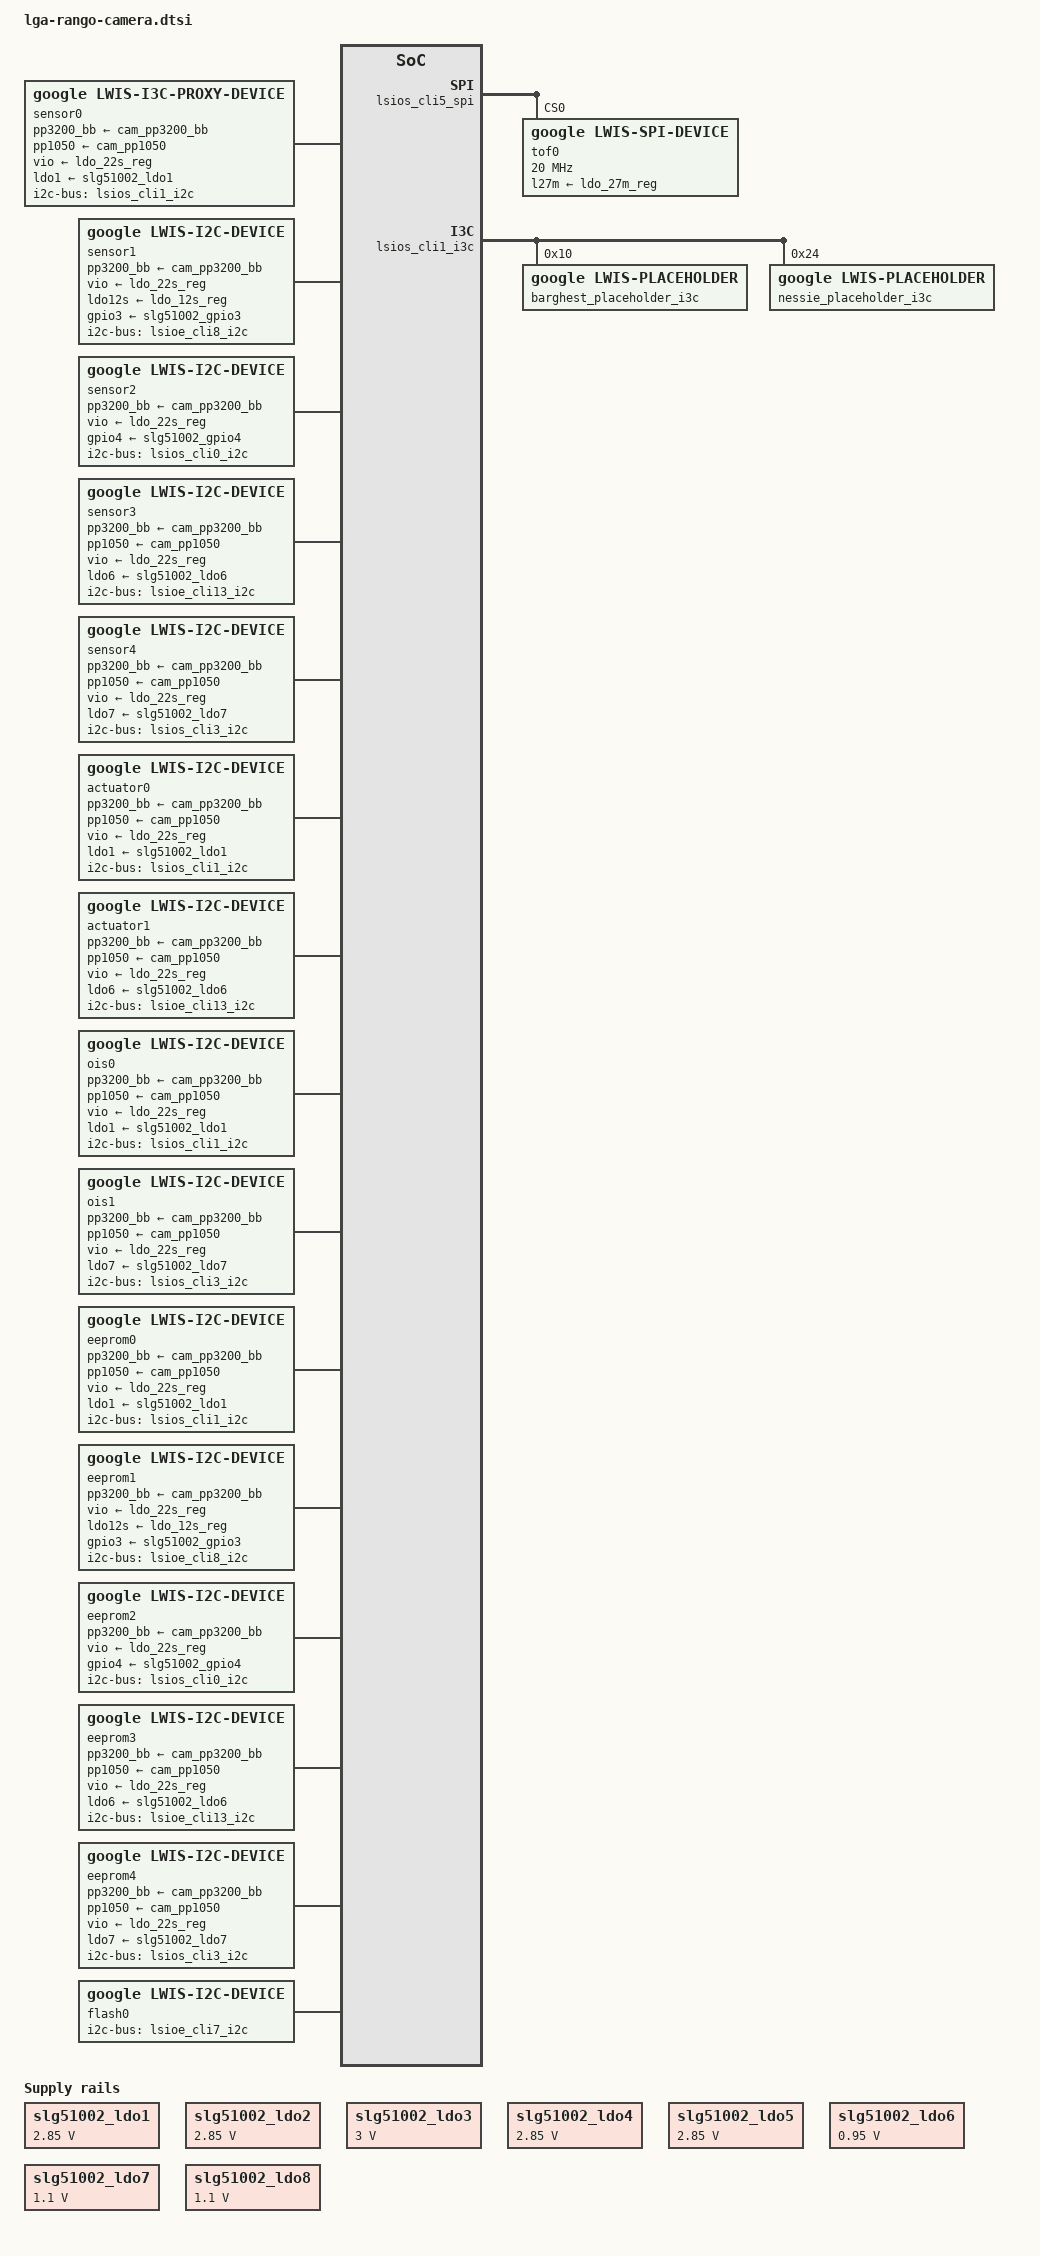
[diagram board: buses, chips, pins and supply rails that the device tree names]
// SPDX-License-Identifier: GPL-2.0-only
/*
 * camera lwis device tree for rango
 *
 * Copyright 2024 Google LLC.
 *
 */

#include <dt-bindings/gpio/gpio.h>
#include <dt-bindings/interrupt-controller/irq.h>
#include <dt-bindings/lwis/platform/laguna/tof.h>

&slg51002_ldo1 {
	regulator-min-microvolt = <2850000>;
	regulator-max-microvolt = <2850000>;
};

&slg51002_ldo2 {
	regulator-min-microvolt = <2850000>;
	regulator-max-microvolt = <2850000>;
};

&slg51002_ldo3 {
	regulator-min-microvolt = <3000000>;
	regulator-max-microvolt = <3000000>;
};

&slg51002_ldo4 {
	regulator-min-microvolt = <2850000>;
	regulator-max-microvolt = <2850000>;
};

&slg51002_ldo5 {
	regulator-min-microvolt = <2850000>;
	regulator-max-microvolt = <2850000>;
};

&slg51002_ldo6 {
	regulator-min-microvolt = <950000>;
	regulator-max-microvolt = <950000>;
};

&slg51002_ldo7 {
	regulator-min-microvolt = <1100000>;
	regulator-max-microvolt = <1100000>;
};

&slg51002_ldo8 {
	regulator-min-microvolt = <1100000>;
	regulator-max-microvolt = <1100000>;
};

/* REAR ULTRA WIDE IMENTET */
&sensor_mclk1_out {
	drive-strength = <2>;
};
&sensor_mclk1_fn {
	drive-strength = <2>;
};
/* REAR CAMERA BARGHEST */
&sensor_mclk2_out {
	drive-strength = <2>;
};
&sensor_mclk2_fn {
	drive-strength = <2>;
};
/* INNER FRONT CAMERA SVAROG */
&sensor_mclk3_out {
	drive-strength = <3>;
};
&sensor_mclk3_fn {
	drive-strength = <3>;
};
/* OUTER FRONT SVAROG */
&sensor_mclk5_out {
	drive-strength = <2>;
};
&sensor_mclk5_fn {
	drive-strength = <2>;
};
/* REAR TELE DOKKAEBI */
&sensor_mclk6_out {
	drive-strength = <2>;
};
&sensor_mclk6_fn {
	drive-strength = <2>;
};

&lsios_cli5_spi {
	google,spi-gpio-cs-with-cpol-high;

	tof0: tof@0 {
		status = "okay";
		compatible = "google,lwis-spi-device";

		/* SPI_CONFIG */
		reg = <0>;
		spi-max-frequency = <20000000>;
		spi-cpol;
		spi-cpha;

		/* Device node name */
		node-name = "tof-tarasque";

		/* Registers */
		reg-addr-bitwidth = <16>;
		reg-value-bitwidth = <8>;

		/* MCLK Control */
		/* LWIS DT parser explicitly requires mclk_on pinctrl */
		pinctrl-names = "default", "mclk_on", "mclk_off";
		pinctrl-0 = <&ldaf2aoc_irq_od_l_1v2>;
		pinctrl-1 = <&ldaf2aoc_irq_od_l_1v2>;
		pinctrl-2 = <>;

		irq-gpios = <LDAF2AOC_IRQ_OD_L_1V2(GPIO_ACTIVE_LOW)>;
		irq-gpios-names = "tof-irq";
		irq-gpios-events = <LWIS_PLATFORM_EVENT_ID_TOF_DATA_POLLING>;
		irq-gpios-types = <IRQ_TYPE_EDGE_FALLING>;

		/* Power supplies */
		/* VADD 3.3V */
		l27m-supply = <&ldo_27m_reg>;

		/* Power up sequence */
		power-up-seqs =
			"l27m",
			"mclk_on";
		power-up-seq-types =
			"regulator",
			"pinctrl";
		power-up-seq-delays-us =
			<0
			 0>;

		/* Power down sequence */
		power-down-seqs =
			"mclk_off",
			"l27m";
		power-down-seq-types =
			"pinctrl",
			"regulator";
		power-down-seq-delays-us =
			<0
			 0>;

		/* Thread priority */
		/* This is made to be lower than image sensor's thread */
		/* thread priority to allow uninterrupted image sensor */
		/* operation during periods of high CPU contention. */
		transaction-thread-priority = <100>;
	};
};

&lsios_cli1_i3c {
	/* Lwis placeholder for RCAM */
	barghest_placeholder_i3c: barghest_placeholder_i3c@0 {
		compatible = "google,lwis-placeholder";
		/* I2C */
		reg = <0x10 0x0 0x20>;
	};
	nessie_placeholder_i3c: nessie_placeholder_i3c@0 {
		compatible = "google,lwis-placeholder";
		/* I2C */
		reg = <0x24 0x0 0x20>;
	};
};

/* INNER FRONT CAMERA SVAROG */
&lsioe_cli8_i2c {
	i2c-sda-falling-time-ns = <125>;
	i2c-scl-falling-time-ns = <150>;
};
/* REAR ULTRA WIDE IMENTET */
&lsioe_cli13_i2c {
	i2c-sda-falling-time-ns = <125>;
	i2c-scl-falling-time-ns = <150>;
};

/ {
	fragment@lwiscamera {
		target-path = "/";
		__overlay__ {
			/* Power supplies will be defined on each module. */
			outer_front_camera_power_seq: module_power_seq@0 {
				/* Common supplies */
				/* PP3200_BB_CAM pp3200_bb */
				/* Sensor */
				/* VDDIO: ldo_22s_reg */
				/* VDIG & VDDA ENABLE: slg51002_gpio4 */
				/* RESET: OUTER_FCAM_RST_L XLSIOS_CLI0_PIN3 */

				power-up-seqs =
					"pp3200_bb",
					"vio",
					"gpio4",
					"reset",
					"mclk_on",
					"vsync_on",
					"resume";
				power-up-seq-types =
					"regulator",
					"regulator",
					"regulator",
					"gpio",
					"pinctrl",
					"pinctrl",
					"controller";
				power-up-seq-delays-us =
					<0
					 1000
					 1000
					 1000
					 1000
					 0
					 0>;

				power-down-seqs =
					"suspend",
					"vsync_off",
					"mclk_off",
					"reset",
					"gpio4",
					"vio",
					"pp3200_bb";
				power-down-seq-types =
					"controller",
					"pinctrl",
					"pinctrl",
					"gpio",
					"regulator",
					"regulator",
					"regulator";
				power-down-seq-delays-us =
					<0
					 0
					 1000
					 1000
					 1000
					 0
					 2000>;
			};

			inner_front_camera_power_seq: module_power_seq@1 {
				/* Common supplies */
				/* PP3200_BB_CAM pp3200_bb */
				/* Sensor */
				/* Sensor IOVDD: ldo_22s_reg */
				/* Sensor DVDD: ldo_12s_reg */
				/* Sensor AVDD: slg51002_gpio3 */
				/* RESET: AP2FCAM_RST_L -> XLSIOE_CLI8_PIN2 */

				power-up-seqs =
					"pp3200_bb",
					"vio",
					"gpio3",
					"ldo12s",
					"reset",
					"mclk_on",
					"vsync_on",
					"resume";
				power-up-seq-types =
					"regulator",
					"regulator",
					"regulator",
					"regulator",
					"gpio",
					"pinctrl",
					"pinctrl",
					"controller";
				power-up-seq-delays-us =
					<1000
					 0
					 2000
					 0
					 1000
					 1000
					 0
					 0>;

				power-down-seqs =
					"suspend",
					"vsync_off",
					"mclk_off",
					"reset",
					"ldo12s",
					"gpio3",
					"vio",
					"pp3200_bb";
				power-down-seq-types =
					"controller",
					"pinctrl",
					"pinctrl",
					"gpio",
					"regulator",
					"regulator",
					"regulator",
					"regulator";
				power-down-seq-delays-us =
					<0
					 0
					 1000
					 1000
					 1000
					 1000
					 1000
					 2000>;
			};

			/* Power sequence for REAR MAIN CAMERA combo */
			rear_main_camera_power_seq: module_power_seq@2 {
				/* Common supplies */
				/* PP3200_BB_CAM pp3200_bb */
				/* PP1050_CAM    pp1050 */
				/* Sensor */
				/* PMIC RCAM VANA ENABLE: PMICS2CAM_MVBUCK_EN */
				/* Sensor IOVDD: ldo_22s_reg */
				/* AF/OIS Driver IC: slg51002_ldo1 */
				/* AF_VCM: slg51002_ldo2 */
				/* Sensor AVDD: slg51002_gpio1 */
				/* Sensor DVDD: slg51002_ldo8 */

				power-up-seqs =
					"pp3200_bb",
					"pp1050",
					"shared-vana_enable",
					"vio",
					"ldo1",
					"ldo2",
					"gpio1",
					"ldo8",
					"mclk_on",
					"vsync_on",
					"resume";
				power-up-seq-types =
					"regulator",
					"regulator",
					"gpio",
					"regulator",
					"regulator",
					"regulator",
					"regulator",
					"regulator",
					"pinctrl",
					"pinctrl",
					"controller";
				power-up-seq-delays-us =
					<0
					 0
					 0
					 1000
					 1000
					 1000
					 1000
					 1000
					 1000
					 0
					 0>;

				power-down-seqs =
					"suspend",
					"vsync_off",
					"mclk_off",
					"ldo8",
					"gpio1",
					"ldo2",
					"ldo1",
					"vio",
					"shared-vana_enable",
					"pp1050",
					"pp3200_bb";
				power-down-seq-types =
					"controller",
					"pinctrl",
					"pinctrl",
					"regulator",
					"regulator",
					"regulator",
					"regulator",
					"regulator",
					"gpio",
					"regulator",
					"regulator";
				power-down-seq-delays-us =
					<0
					 0
					 1000
					 1000
					 1000
					 1000
					 1000
					 0
					 1000
					 2000
					 2000>;
			};

			rear_uw_camera_power_seq: module_power_seq@3 {
				/* Common supplies */
				/* PP3200_BB_CAM     pp3200_bb */
				/* PP1050_CAM        pp1050 */
				/* Sensor */
				/* PMIC RCAM VANA ENABLE: PMICS2CAM_MVBUCK_EN */
				/* VDDIO: ldo_22s_reg */
				/* VDIG: slg51002_ldo6 */
				/* VDDA: slg51002_gpio2 */
				/* AF_VM: slg51002_ldo5 */

				power-up-seqs =
					"pp3200_bb",
					"pp1050",
					"shared-vana_enable",
					"vio",
					"ldo5",
					"gpio2",
					"ldo6",
					"mclk_on",
					"vsync_on",
					"resume";
				power-up-seq-types =
					"regulator",
					"regulator",
					"gpio",
					"regulator",
					"regulator",
					"regulator",
					"regulator",
					"pinctrl",
					"pinctrl",
					"controller";
				power-up-seq-delays-us =
					<0
					 0
					 0
					 0
					 1000
					 1000
					 1000
					 10000
					 0
					 0>;

				power-down-seqs =
					"suspend",
					"vsync_off",
					"mclk_off",
					"ldo6",
					"gpio2",
					"ldo5",
					"vio",
					"shared-vana_enable",
					"pp1050",
					"pp3200_bb";
				power-down-seq-types =
					"controller",
					"pinctrl",
					"pinctrl",
					"regulator",
					"regulator",
					"regulator",
					"regulator",
					"gpio",
					"regulator",
					"regulator";
				power-down-seq-delays-us =
					<0
					 0
					 1000
					 1000
					 1000
					 0
					 0
					 1000
					 2000
					 2000>;
			};

			rear_tele_camera_power_seq: module_power_seq@4 {
				/* Common supplies */
				/* PP3200_BB_CAM     pp3200_bb */
				/* PP1050_CAM        pp1050 */
				/* Sensor */
				/* VDDIO: ldo_22s_reg */
				/* VDIG: slg51002_ldo7*/
				/* VDDA: slg51002_ldo3 */
				/* AF_OIS_AVDD: slg51002_ldo1 */
				/* AF_OIS_VM: slg51002_ldo4 */
				/* AF_OIS_RESRT: AP2RTCAM_AF_OIS_RST XLSIOS_PWM_2 */

				power-up-seqs =
					"pp3200_bb",
					"pp1050",
					"vio",
					"ldo1",
					"ldo4",
					"shared-reset",
					"ldo3",
					"ldo7",
					"mclk_on",
					"vsync_on",
					"resume";
				power-up-seq-types =
					"regulator",
					"regulator",
					"regulator",
					"regulator",
					"regulator",
					"gpio",
					"regulator",
					"regulator",
					"pinctrl",
					"pinctrl",
					"controller";
				power-up-seq-delays-us =
					<0
					 0
					 1000
					 1000
					 1000
					 1000
					 1000
					 1000
					 10000
					 0
					 0>;

				power-down-seqs =
					"suspend",
					"vsync_off",
					"mclk_off",
					"ldo7",
					"ldo3",
					"shared-reset",
					"ldo4",
					"ldo1",
					"vio",
					"pp1050",
					"pp3200_bb";
				power-down-seq-types =
					"controller",
					"pinctrl",
					"pinctrl",
					"regulator",
					"regulator",
					"gpio",
					"regulator",
					"regulator",
					"regulator",
					"regulator",
					"regulator";
				power-down-seq-delays-us =
					<0
					 0
					 1000
					 1000
					 1000
					 1000
					 1000
					 1000
					 1000
					 2000
					 2000>;
			};

			/* REAR CAMERA BARGHEST CSIB */
			sensor0: sensor@0 {
				compatible = "google,lwis-i3c-proxy-device";

				/* Device node name */
				node-name = "sensor-barghest";

				/* I2C */
				i2c-bus = <&lsios_cli1_i2c &lsios_cli1_i3c>;
				i2c-addr = <0x10>;
				/* I3C */
				i3c-enabled;
				i3c-dcr = <130>;

				/* Registers */
				reg-addr-bitwidth = <16>;
				reg-value-bitwidth = <16>;

				/* I2C OTP settings (reg, val) */
				i2c-otp-settings =
					<0xFCFC 0x4000
					 0x6010 0x0001>;
				i2c-otp-settle-time = <10000>;

				/* I3C OTP settings (reg, val) */
				i3c-otp-settings =
					<0xFCFC 0x4000
					 0x6012 0x0001
					 0x7002 0x1008
					 0x6066 0x0216
					 0x6068 0x08E8
					 0x6014 0x0001>;
				i3c-otp-settle-time = <10000>;
				/* I3C IBI */
				ibi-max-payload-len = <3>;
				ibi-num-slots = <8>;

				/* GPIOs */
				/* PMIC RCAM VANA ENABLE */
				shared-vana_enable-gpios =
					<PMICS2CAM_MVBUCK_EN(GPIO_ACTIVE_HIGH)>;
				/* AP2RCAM_RST_L -> XLSIOS_CLI1_PIN2 */
				reset-gpios =
					<AP2RCAM_RST_L(GPIO_ACTIVE_HIGH)>;

				/* Power supplies */
				pp3200_bb-supply = <&cam_pp3200_bb>;
				pp1050-supply = <&cam_pp1050>;
				vio-supply = <&ldo_22s_reg>; /* Sensor IOVDD */
				ldo1-supply = <&slg51002_ldo1>; /* AF/OIS Driver IC */
				ldo2-supply = <&slg51002_ldo2>; /* VCM */
				gpio1-supply = <&slg51002_gpio1>; /* Sensor AVDD */
				ldo8-supply = <&slg51002_ldo8>; /* Sensor DVDD */

				clocks = <&lsios_mclk2_clk>;
				clock-names = "MCLK2";
				clock-rates = <24576000>;

				/* MCLK Control */
				pinctrl-names = "mclk_on", "mclk_off", "vsync_on", "vsync_off";
				pinctrl-0 = <&sensor_mclk2_fn>;
				pinctrl-1 = <&sensor_mclk2_out>;
				pinctrl-2 = <&rcam2ap_vsync>;
				pinctrl-3 = <&rcam2ap_vsync_sleep>;

				/* Power sequence */
				power-seq = <&rear_main_camera_power_seq>;

				/* resume sequence */
				resume-seqs = "reset";
				resume-seq-types = "gpio";
				resume-seq-delays-us = <10500>;

				/* suspend sequence */
				suspend-seqs = "reset";
				suspend-seq-types = "gpio";
				suspend-seq-delays-us = <1000>;

				/* Power up mode */
				lwis,power-up-to-suspend;

				/* Thread priority */
				transaction-thread-priority = <99>;

				i2c-lock-group-id = <0>;
			};

			/* INNER FRONT CAMERA SVAROG CSIC */
			sensor1: sensor@1 {
				compatible = "google,lwis-i2c-device";

				/* Device node name */
				node-name = "sensor-svarog";

				/* I2C */
				i2c-bus = <&lsioe_cli8_i2c>;
				i2c-addr = <0x10>;

				/* Registers */
				reg-addr-bitwidth = <16>;
				reg-value-bitwidth = <16>;

				/* I2C setting in kernel */
				lwis,i2c-otp;
				/* I2C OTP settings (reg, val) */
				i2c-otp-settings =
					<0xFCFC 0x4000
					 0x6000 0x0005
					 0x6010 0x0001>;
				i2c-otp-settle-time = <5000>;

				/* GPIOs */
				/* AP2FCAM_RST_L -> XLSIOE_CLI8_PIN2 */
				reset-gpios =
					<AP2FCAM_RST_L(GPIO_ACTIVE_HIGH)>;

				/* Power supplies */
				pp3200_bb-supply = <&cam_pp3200_bb>;
				vio-supply = <&ldo_22s_reg>; /* Sensor IOVDD */
				ldo12s-supply = <&ldo_12s_reg>; /* Sensor DVDD */
				gpio3-supply = <&slg51002_gpio3>; /* Sensor AVDD */

				clocks = <&lsios_mclk3_clk>;
				clock-names = "MCLK3";
				clock-rates = <24576000>;

				/* MCLK Control */
				pinctrl-names = "mclk_on", "mclk_off", "vsync_on", "vsync_off";
				pinctrl-0 = <&sensor_mclk3_fn>;
				pinctrl-1 = <&sensor_mclk3_out>;
				pinctrl-2 = <&inner_fcam2ap_vsync>;
				pinctrl-3 = <&inner_fcam2ap_vsync_sleep>;

				/* Power sequence */
				power-seq = <&inner_front_camera_power_seq>;

				/* Thread priority */
				transaction-thread-priority = <99>;

				i2c-lock-group-id = <1>;
			};

			/* OUTER FRONT SVAROG CSIF */
			sensor2: sensor@2 {
				compatible = "google,lwis-i2c-device";

				/* Device node name */
				node-name = "sensor-svarog-outer";

				/* I2C */
				i2c-bus = <&lsios_cli0_i2c>;
				i2c-addr = <0x10>;

				/* Registers */
				reg-addr-bitwidth = <16>;
				reg-value-bitwidth = <16>;

				/* I2C setting in kernel */
				lwis,i2c-otp;
				/* I2C OTP settings (reg, val) */
				i2c-otp-settings =
					<0xFCFC 0x4000
					 0x6000 0x0005
					 0x6010 0x0001>;
				i2c-otp-settle-time = <5000>;

				/* GPIOs */
				/* OUTER_FCAM_RST_L -> XLSIOS_CLI0_PIN3 */
				reset-gpios = <OUTER_FCAM_RST_L(GPIO_ACTIVE_HIGH)>;

				/* Power supplies */
				pp3200_bb-supply = <&cam_pp3200_bb>;
				vio-supply = <&ldo_22s_reg>;
				gpio4-supply = <&slg51002_gpio4>;

				clocks = <&lsios_mclk5_clk>;
				clock-names = "MCLK5";
				clock-rates = <24576000>;

				/* MCLK Control */
				pinctrl-names = "mclk_on", "mclk_off", "vsync_on", "vsync_off";
				pinctrl-0 = <&sensor_mclk5_fn>;
				pinctrl-1 = <&sensor_mclk5_out>;
				pinctrl-2 = <&outer_fcam_vsync_1v2>;
				pinctrl-3 = <&outer_fcam_vsync_1v2_sleep>;


				/* Power sequence */
				power-seq = <&outer_front_camera_power_seq>;

				/* Thread priority */
				transaction-thread-priority = <99>;

				i2c-lock-group-id = <2>;
			};

			/* REAR ULTRA WIDE IMENTET CSIA */
			sensor3: sensor@3 {
				compatible = "google,lwis-i2c-device";

				/* Device node name */
				node-name = "sensor-imentet";

				/* I2C */
				i2c-bus = <&lsioe_cli13_i2c>;
				i2c-addr = <0x2D>;

				/* Registers */
				reg-addr-bitwidth = <16>;
				reg-value-bitwidth = <16>;

				/* GPIOs */
				shared-vana_enable-gpios =
					<PMICS2CAM_MVBUCK_EN(GPIO_ACTIVE_HIGH)>;
				/* AP2RUWCAM_RST_L -> XLSIOE_CLI13_PIN2 */
				reset-gpios = <AP2RUWCAM_RST_L(GPIO_ACTIVE_HIGH)>;

				/* Power supplies */
				pp3200_bb-supply = <&cam_pp3200_bb>;
				pp1050-supply = <&cam_pp1050>;
				vio-supply = <&ldo_22s_reg>;
				ldo6-supply = <&slg51002_ldo6>;
				gpio2-supply = <&slg51002_gpio2>;
				ldo5-supply = <&slg51002_ldo5>;

				clocks = <&lsios_mclk1_clk>;
				clock-names = "MCLK1";
				clock-rates = <24576000>;

				/* MCLK Control */
				pinctrl-names = "mclk_on", "mclk_off", "vsync_on", "vsync_off";
				pinctrl-0 = <&sensor_mclk1_fn>;
				pinctrl-1 = <&sensor_mclk1_out>;
				pinctrl-2 = <&ruwcam2ap_vsync>;
				pinctrl-3 = <&ruwcam2ap_vsync_sleep>;

				power-seq = <&rear_uw_camera_power_seq>;

				lwis,power-up-to-suspend;

				resume-seqs = "reset";
				resume-seq-types = "gpio";
				resume-seq-delays-us = <5000>;

				suspend-seqs = "reset";
				suspend-seq-types = "gpio";
				suspend-seq-delays-us = <1000>;

				/* Thread priority */
				transaction-thread-priority = <99>;

				i2c-lock-group-id = <3>;
			};

			/* REAR TELE DOKKAEBI CSIE */
			sensor4: sensor@4 {
				compatible = "google,lwis-i2c-device";

				/* Device node name */
				node-name = "sensor-dokkaebi-tele";

				/* I2C */
				i2c-bus = <&lsios_cli3_i2c>;
				i2c-addr = <0x10>;

				/* Registers */
				reg-addr-bitwidth = <16>;
				reg-value-bitwidth = <16>;

				/* GPIOs */
				/* AP2RTCAM_RST_L -> XLSIOS_CLI3_PIN2 */
				reset-gpios = <AP2RTCAM_RST_L(GPIO_ACTIVE_HIGH)>;
				/* AP2RTCAM_AF_OIS_RST -> XLSIOS_PWM_2 */
				shared-reset-gpios = <AP2RTCAM_AF_OIS_RST(GPIO_ACTIVE_HIGH)>;

				/* Power supplies */
				pp3200_bb-supply = <&cam_pp3200_bb>;
				pp1050-supply = <&cam_pp1050>;
				vio-supply = <&ldo_22s_reg>;
				ldo7-supply = <&slg51002_ldo7>;
				ldo3-supply = <&slg51002_ldo3>;
				ldo1-supply = <&slg51002_ldo1>;
				ldo4-supply = <&slg51002_ldo4>;

				clocks = <&lsios_mclk6_clk>;
				clock-names = "MCLK6";
				clock-rates = <24576000>;

				/* MCLK Control */
				pinctrl-names = "mclk_on", "mclk_off", "vsync_on", "vsync_off";
				pinctrl-0 = <&sensor_mclk6_fn>;
				pinctrl-1 = <&sensor_mclk6_out>;
				pinctrl-2 = <&rtcam2ap_vsync>;
				pinctrl-3 = <&rtcam2ap_vsync_sleep>;

				power-seq = <&rear_tele_camera_power_seq>;

				lwis,power-up-to-suspend;

				resume-seqs = "reset";
				resume-seq-types = "gpio";
				resume-seq-delays-us = <2000>;

				suspend-seqs = "reset";
				suspend-seq-types = "gpio";
				suspend-seq-delays-us = <1000>;

				/* Thread priority */
				transaction-thread-priority = <99>;

				i2c-lock-group-id = <4>;
			};

			/* Actuator NESSIE for BARGHEST */
			actuator0: actuator@0 {
				compatible = "google,lwis-i2c-device";

				/* Device node name */
				node-name = "act-nessie";

				/* I2C */
				i2c-bus = <&lsios_cli1_i2c &lsios_cli1_i3c>;
				i2c-addr = <0x24>;

				/* Registers */
				reg-addr-bitwidth = <16>;
				reg-value-bitwidth = <32>;

				/* GPIOs */
				/* PMIC RCAM VANA ENABLE */
				shared-vana_enable-gpios =
					<PMICS2CAM_MVBUCK_EN(GPIO_ACTIVE_HIGH)>;

				/* Power supplies */
				pp3200_bb-supply = <&cam_pp3200_bb>;
				pp1050-supply = <&cam_pp1050>;
				vio-supply = <&ldo_22s_reg>; /* Sensor IOVDD */
				ldo1-supply = <&slg51002_ldo1>; /* AF/OIS Driver IC */
				ldo2-supply = <&slg51002_ldo2>; /* VCM */
				gpio1-supply = <&slg51002_gpio1>; /* Sensor AVDD */
				ldo8-supply = <&slg51002_ldo8>; /* Sensor DVDD */

				/* MCLK Control */
				pinctrl-names = "mclk_on", "mclk_off", "vsync_on", "vsync_off";
				pinctrl-0 = <&sensor_mclk2_fn>;
				pinctrl-1 = <&sensor_mclk2_out>;
				pinctrl-2 = <&rcam2ap_vsync>;
				pinctrl-3 = <&rcam2ap_vsync_sleep>;

				/* Power sequence */
				power-seq = <&rear_main_camera_power_seq>;

				/* Thread priority */
				transaction-thread-priority = <99>;

				i2c-lock-group-id = <0>;
			};

			/* Actuator CORNERFOLK for IMENTET-UW */
			actuator1: actuator@1 {
				compatible = "google,lwis-i2c-device";

				/* Device node name */
				node-name = "act-cornerfolk-imentet-uw";

				/* I2C */
				i2c-bus = <&lsioe_cli13_i2c>;
				i2c-addr = <0xC>;

				/* Registers */
				reg-addr-bitwidth = <8>;
				reg-value-bitwidth = <8>;

				/* GPIOs */
				shared-vana_enable-gpios =
					<PMICS2CAM_MVBUCK_EN(GPIO_ACTIVE_HIGH)>;

				/* Power supplies */
				pp3200_bb-supply = <&cam_pp3200_bb>;
				pp1050-supply = <&cam_pp1050>;
				vio-supply = <&ldo_22s_reg>;
				ldo6-supply = <&slg51002_ldo6>;
				gpio2-supply = <&slg51002_gpio2>;
				ldo5-supply = <&slg51002_ldo5>;

				/* MCLK Control */
				pinctrl-names = "mclk_on", "mclk_off", "vsync_on", "vsync_off";
				pinctrl-0 = <&sensor_mclk1_fn>;
				pinctrl-1 = <&sensor_mclk1_out>;
				pinctrl-2 = <&ruwcam2ap_vsync>;
				pinctrl-3 = <&ruwcam2ap_vsync_sleep>;

				/* Power sequence */
				power-seq = <&rear_uw_camera_power_seq>;

				/* Thread priority */
				transaction-thread-priority = <99>;

				i2c-lock-group-id = <3>;
			};

			/* OIS NESSIE for BARGHEST */
			ois0: ois@0 {
				compatible = "google,lwis-i2c-device";

				/* Device node name */
				node-name = "ois-nessie";

				/* I2C */
				i2c-bus = <&lsios_cli1_i2c &lsios_cli1_i3c>;
				i2c-addr = <0x24>;

				/* Registers */
				reg-addr-bitwidth = <16>;
				reg-value-bitwidth = <32>;

				/* GPIOs */
				/* PMIC RCAM VANA ENABLE */
				shared-vana_enable-gpios =
					<PMICS2CAM_MVBUCK_EN(GPIO_ACTIVE_HIGH)>;

				/* Power supplies */
				pp3200_bb-supply = <&cam_pp3200_bb>;
				pp1050-supply = <&cam_pp1050>;
				vio-supply = <&ldo_22s_reg>; /* Sensor IOVDD */
				ldo1-supply = <&slg51002_ldo1>; /* AF/OIS Driver IC */
				ldo2-supply = <&slg51002_ldo2>; /* VCM */
				gpio1-supply = <&slg51002_gpio1>; /* Sensor AVDD */
				ldo8-supply = <&slg51002_ldo8>; /* Sensor DVDD */

				/* MCLK Control */
				pinctrl-names = "mclk_on", "mclk_off", "vsync_on", "vsync_off";
				pinctrl-0 = <&sensor_mclk2_fn>;
				pinctrl-1 = <&sensor_mclk2_out>;
				pinctrl-2 = <&rcam2ap_vsync>;
				pinctrl-3 = <&rcam2ap_vsync_sleep>;

				/* Power sequence */
				power-seq = <&rear_main_camera_power_seq>;

				/* Thread priority */
				transaction-thread-priority = <99>;

				i2c-lock-group-id = <0>;
			};

			/* OIS HUMBABA for DOKKAEBI-TELE */
			ois1: ois@1  {
				compatible = "google,lwis-i2c-device";

				/* Device node name */
				node-name = "ois-humbaba";

				/* I2C */
				i2c-bus = <&lsios_cli3_i2c>;
				i2c-addr = <0x61>;

				/* Registers */
				reg-addr-bitwidth = <16>;
				reg-value-bitwidth = <8>;

				/* GPIOs */
				/* AP2RTCAM_AF_OIS_RST -> XLSIOS_PWM_2 */
				shared-reset-gpios = <AP2RTCAM_AF_OIS_RST(GPIO_ACTIVE_HIGH)>;

				/* Power supplies */
				pp3200_bb-supply = <&cam_pp3200_bb>;
				pp1050-supply = <&cam_pp1050>;
				vio-supply = <&ldo_22s_reg>;
				ldo7-supply = <&slg51002_ldo7>;
				ldo3-supply = <&slg51002_ldo3>;
				ldo1-supply = <&slg51002_ldo1>;
				ldo4-supply = <&slg51002_ldo4>;

				/* MCLK Control */
				pinctrl-names = "mclk_on", "mclk_off", "vsync_on", "vsync_off";
				pinctrl-0 = <&sensor_mclk6_fn>;
				pinctrl-1 = <&sensor_mclk6_out>;
				pinctrl-2 = <&rtcam2ap_vsync>;
				pinctrl-3 = <&rtcam2ap_vsync_sleep>;

				/* Power sequence */
				power-seq = <&rear_tele_camera_power_seq>;

				/* Thread priority */
				transaction-thread-priority = <99>;

				i2c-lock-group-id = <4>;
			};

			/* EEPROM NESSIE for BARGHEST */
			eeprom0: eeprom@0 {
				compatible = "google,lwis-i2c-device";

				/* Device node name */
				node-name = "eeprom-nessie";

				/* I2C */
				i2c-bus = <&lsios_cli1_i2c &lsios_cli1_i3c>;
				i2c-addr = <0x24>;

				/* Registers */
				reg-addr-bitwidth = <16>;
				reg-value-bitwidth = <32>;

				/* GPIOs */
				/* PMIC RCAM VANA ENABLE */
				shared-vana_enable-gpios =
					<PMICS2CAM_MVBUCK_EN(GPIO_ACTIVE_HIGH)>;

				/* Power supplies */
				pp3200_bb-supply = <&cam_pp3200_bb>;
				pp1050-supply = <&cam_pp1050>;
				vio-supply = <&ldo_22s_reg>; /* Sensor IOVDD */
				ldo1-supply = <&slg51002_ldo1>; /* AF/OIS Driver IC */
				ldo2-supply = <&slg51002_ldo2>; /* VCM */
				gpio1-supply = <&slg51002_gpio1>; /* Sensor AVDD */
				ldo8-supply = <&slg51002_ldo8>; /* Sensor DVDD */

				/* MCLK Control */
				pinctrl-names = "mclk_on", "mclk_off", "vsync_on", "vsync_off";
				pinctrl-0 = <&sensor_mclk2_fn>;
				pinctrl-1 = <&sensor_mclk2_out>;
				pinctrl-2 = <&rcam2ap_vsync>;
				pinctrl-3 = <&rcam2ap_vsync_sleep>;

				/* Power sequence */
				power-seq = <&rear_main_camera_power_seq>;

				/* Thread priority */
				/* Match with other bus devices */
				transaction-thread-priority = <99>;

				i2c-lock-group-id = <0>;
			};

			/* EEPROM for INNER FRONT CAMERA */
			eeprom1: eeprom@1 {
				compatible = "google,lwis-i2c-device";

				/* Device node name */
				node-name = "eeprom-smaug-svarog";

				/* I2C */
				i2c-bus = <&lsioe_cli8_i2c>;
				i2c-addr = <0x50>;

				/* Registers */
				reg-addr-bitwidth = <16>;
				reg-value-bitwidth = <8>;

				/* GPIOs */
				/* AP2FCAM_RST_L -> XLSIOE_CLI8_PIN2 */
				reset-gpios =
					<AP2FCAM_RST_L(GPIO_ACTIVE_HIGH)>;

				/* Power supplies */
				pp3200_bb-supply = <&cam_pp3200_bb>;
				vio-supply = <&ldo_22s_reg>; /* Sensor IOVDD */
				ldo12s-supply = <&ldo_12s_reg>; /* Sensor DVDD */
				gpio3-supply = <&slg51002_gpio3>; /* Sensor AVDD */

				/* MCLK Control */
				pinctrl-names = "mclk_on", "mclk_off", "vsync_on", "vsync_off";
				pinctrl-0 = <&sensor_mclk3_fn>;
				pinctrl-1 = <&sensor_mclk3_out>;
				pinctrl-2 = <&inner_fcam2ap_vsync>;
				pinctrl-3 = <&inner_fcam2ap_vsync_sleep>;

				/* Power sequence */
				power-seq = <&inner_front_camera_power_seq>;

				/* Thread priority */
				/* Match with other bus devices */
				transaction-thread-priority = <99>;

				i2c-lock-group-id = <1>;
			};

			/* EEPROM SMAUG for SVAROG-OUTER */
			eeprom2: eeprom@2 {
				compatible = "google,lwis-i2c-device";

				/* Device node name */
				node-name = "eeprom-smaug-svarog-outer";

				/* I2C */
				i2c-bus = <&lsios_cli0_i2c>;
				i2c-addr = <0x50>;

				/* Registers */
				reg-addr-bitwidth = <16>;
				reg-value-bitwidth = <8>;

				/* GPIOs */
				/* OUTER_FCAM_RST_L ->  XLSIOS_CLI0_PIN3 */
				reset-gpios = <OUTER_FCAM_RST_L(GPIO_ACTIVE_HIGH)>;

				/* Power supplies */
				pp3200_bb-supply = <&cam_pp3200_bb>;
				vio-supply = <&ldo_22s_reg>;
				gpio4-supply = <&slg51002_gpio4>;

				/* MCLK Control */
				pinctrl-names = "mclk_on", "mclk_off", "vsync_on", "vsync_off";
				pinctrl-0 = <&sensor_mclk5_fn>;
				pinctrl-1 = <&sensor_mclk5_out>;
				pinctrl-2 = <&outer_fcam_vsync_1v2>;
				pinctrl-3 = <&outer_fcam_vsync_1v2_sleep>;

				/* Power sequence */
				power-seq = <&outer_front_camera_power_seq>;

				/* Thread priority */
				/* Match with other bus devices */
				transaction-thread-priority = <99>;

				i2c-lock-group-id = <2>;
			};

			/* EEPROM SMAUG for IMENTET-UW */
			eeprom3: eeprom@3 {
				compatible = "google,lwis-i2c-device";

				/* Device node name */
				node-name = "eeprom-smaug-imentet-uw";

				/* I2C */
				i2c-bus = <&lsioe_cli13_i2c>;
				i2c-addr = <0x50>;

				/* Registers */
				reg-addr-bitwidth = <16>;
				reg-value-bitwidth = <8>;

				/* GPIOs */
				shared-vana_enable-gpios =
					<PMICS2CAM_MVBUCK_EN(GPIO_ACTIVE_HIGH)>;

				/* Power supplies */
				pp3200_bb-supply = <&cam_pp3200_bb>;
				pp1050-supply = <&cam_pp1050>;
				vio-supply = <&ldo_22s_reg>;
				ldo6-supply = <&slg51002_ldo6>;
				gpio2-supply = <&slg51002_gpio2>;
				ldo5-supply = <&slg51002_ldo5>;

				/* MCLK Control */
				pinctrl-names = "mclk_on", "mclk_off", "vsync_on", "vsync_off";
				pinctrl-0 = <&sensor_mclk1_fn>;
				pinctrl-1 = <&sensor_mclk1_out>;
				pinctrl-2 = <&ruwcam2ap_vsync>;
				pinctrl-3 = <&ruwcam2ap_vsync_sleep>;

				/* Power sequence */
				power-seq = <&rear_uw_camera_power_seq>;

				/* Thread priority */
				/* Match with other bus devices */
				transaction-thread-priority = <99>;

				i2c-lock-group-id = <3>;
			};

			/* EEPROM HUMBABA for DOKKAEBI-TELE */
			eeprom4: eeprom@4 {
				compatible = "google,lwis-i2c-device";

				/* Device node name */
				node-name = "eeprom-humbaba";

				/* I2C */
				i2c-bus = <&lsios_cli3_i2c>;
				i2c-addr = <0x61>;

				/* Registers */
				reg-addr-bitwidth = <16>;
				reg-value-bitwidth = <8>;

				/* GPIOs */
				/* AP2RTCAM_AF_OIS_RST -> XLSIOS_PWM_2 */
				shared-reset-gpios = <AP2RTCAM_AF_OIS_RST(GPIO_ACTIVE_HIGH)>;

				/* Power supplies */
				pp3200_bb-supply = <&cam_pp3200_bb>;
				pp1050-supply = <&cam_pp1050>;
				vio-supply = <&ldo_22s_reg>;
				ldo7-supply = <&slg51002_ldo7>;
				ldo3-supply = <&slg51002_ldo3>;
				ldo1-supply = <&slg51002_ldo1>;
				ldo4-supply = <&slg51002_ldo4>;

				/* MCLK Control */
				pinctrl-names = "mclk_on", "mclk_off", "vsync_on", "vsync_off";
				pinctrl-0 = <&sensor_mclk6_fn>;
				pinctrl-1 = <&sensor_mclk6_out>;
				pinctrl-2 = <&rtcam2ap_vsync>;
				pinctrl-3 = <&rtcam2ap_vsync_sleep>;

				/* Power sequence */
				power-seq = <&rear_tele_camera_power_seq>;

				/* Thread priority */
				/* Match with other bus devices */
				transaction-thread-priority = <99>;

				i2c-lock-group-id = <4>;
			};

			flash0: flash@0 {
				compatible = "google,lwis-i2c-device";

				/* Device node name */
				node-name = "flash-lm3644";

				/* I2C */
				i2c-bus = <&lsioe_cli7_i2c>;
				i2c-addr = <0x63>;

				/* Registers */
				reg-addr-bitwidth = <8>;
				reg-value-bitwidth = <8>;

				/* GPIOs */
				/* AP2FLASH_EN -> XLSIOS_CLI3_PIN3 */
				enable-gpios =
					<AP2FLASH_EN(GPIO_ACTIVE_HIGH)>;

				power-up-seqs = "enable";
				power-up-seq-types = "gpio";
				power-up-seq-delays-us = <0>;

				power-down-seqs = "enable";
				power-down-seq-types = "gpio";
				power-down-seq-delays-us = <0>;
			};
		};
	};
};
